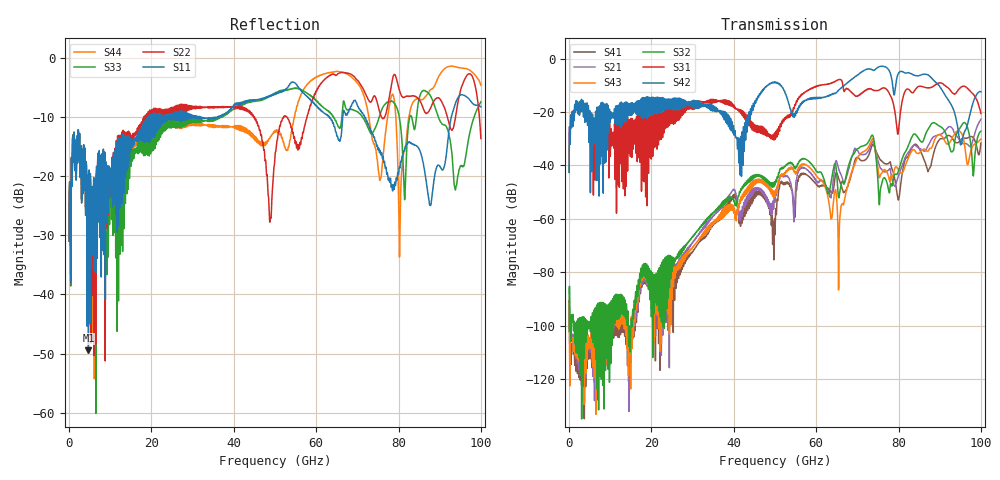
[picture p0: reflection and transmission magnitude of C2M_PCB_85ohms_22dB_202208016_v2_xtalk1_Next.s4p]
! Info: Touchstone file created by Circ.  Input file=Intel_C2M_200G_8p5in_202208016_staggered.circ
# Hz S RI R 50
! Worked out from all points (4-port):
!   10000 points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, 10 MHz to 100 GHz, reference 50 ohm
!   strongest paths, dB at 10 MHz, 25.01 GHz, 50.01 GHz, 75.01 GHz, 100 GHz:
!     S42: -42.6, -18.8, -9.1, -3.3, -12.5
!     S31: -42.6, -24.0, -28.8, -12.0, -20.6
!     S32: -102.2, -79.7, -47.3, -46.2, -27.2
!     S43: -91.7, -90.2, -51.0, -41.8, -30.2
!     S21: -91.3, -86.9, -53.7, -38.2, -22.7
!     S41: -90.6, -87.6, -66.0, -36.3, -31.6
!   lowest |S11| = -49.4 dB at 4.7 GHz (marker M1), VSWR 1.01, Z = 50.1 - j0.327 ohm
!   |S11| at or under -10 dB: start of sweep to 19.27 GHz; 32.04 GHz to 35.89 GHz (3.854 GHz wide, 11.3 % of centre); 71.76 GHz to 92.81 GHz (21.05 GHz wide, 25.6 % of centre)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
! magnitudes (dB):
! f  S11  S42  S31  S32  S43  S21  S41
! 10 MHz  -31.0  -42.6  -42.6  -102.2  -91.7  -91.3  -90.6
! 4.7 GHz  -49.4  -18.2  -19.2  -101.0  -108.5  -109.0  -112.3
! 41.41 GHz  -7.7  -30.2  -19.6  -49.8  -52.9  -57.9  -59.3
! 48.72 GHz  -6.5  -9.4  -29.5  -47.4  -48.9  -57.1  -56.3
! 76.11 GHz  -16.9  -2.9  -11.1  -45.7  -42.4  -41.9  -38.6
! 95.19 GHz  -6.2  -32.1  -10.7  -25.4  -27.8  -31.2  -30.3
! 100 GHz  -8.3  -12.5  -20.6  -27.2  -30.2  -22.7  -31.6
